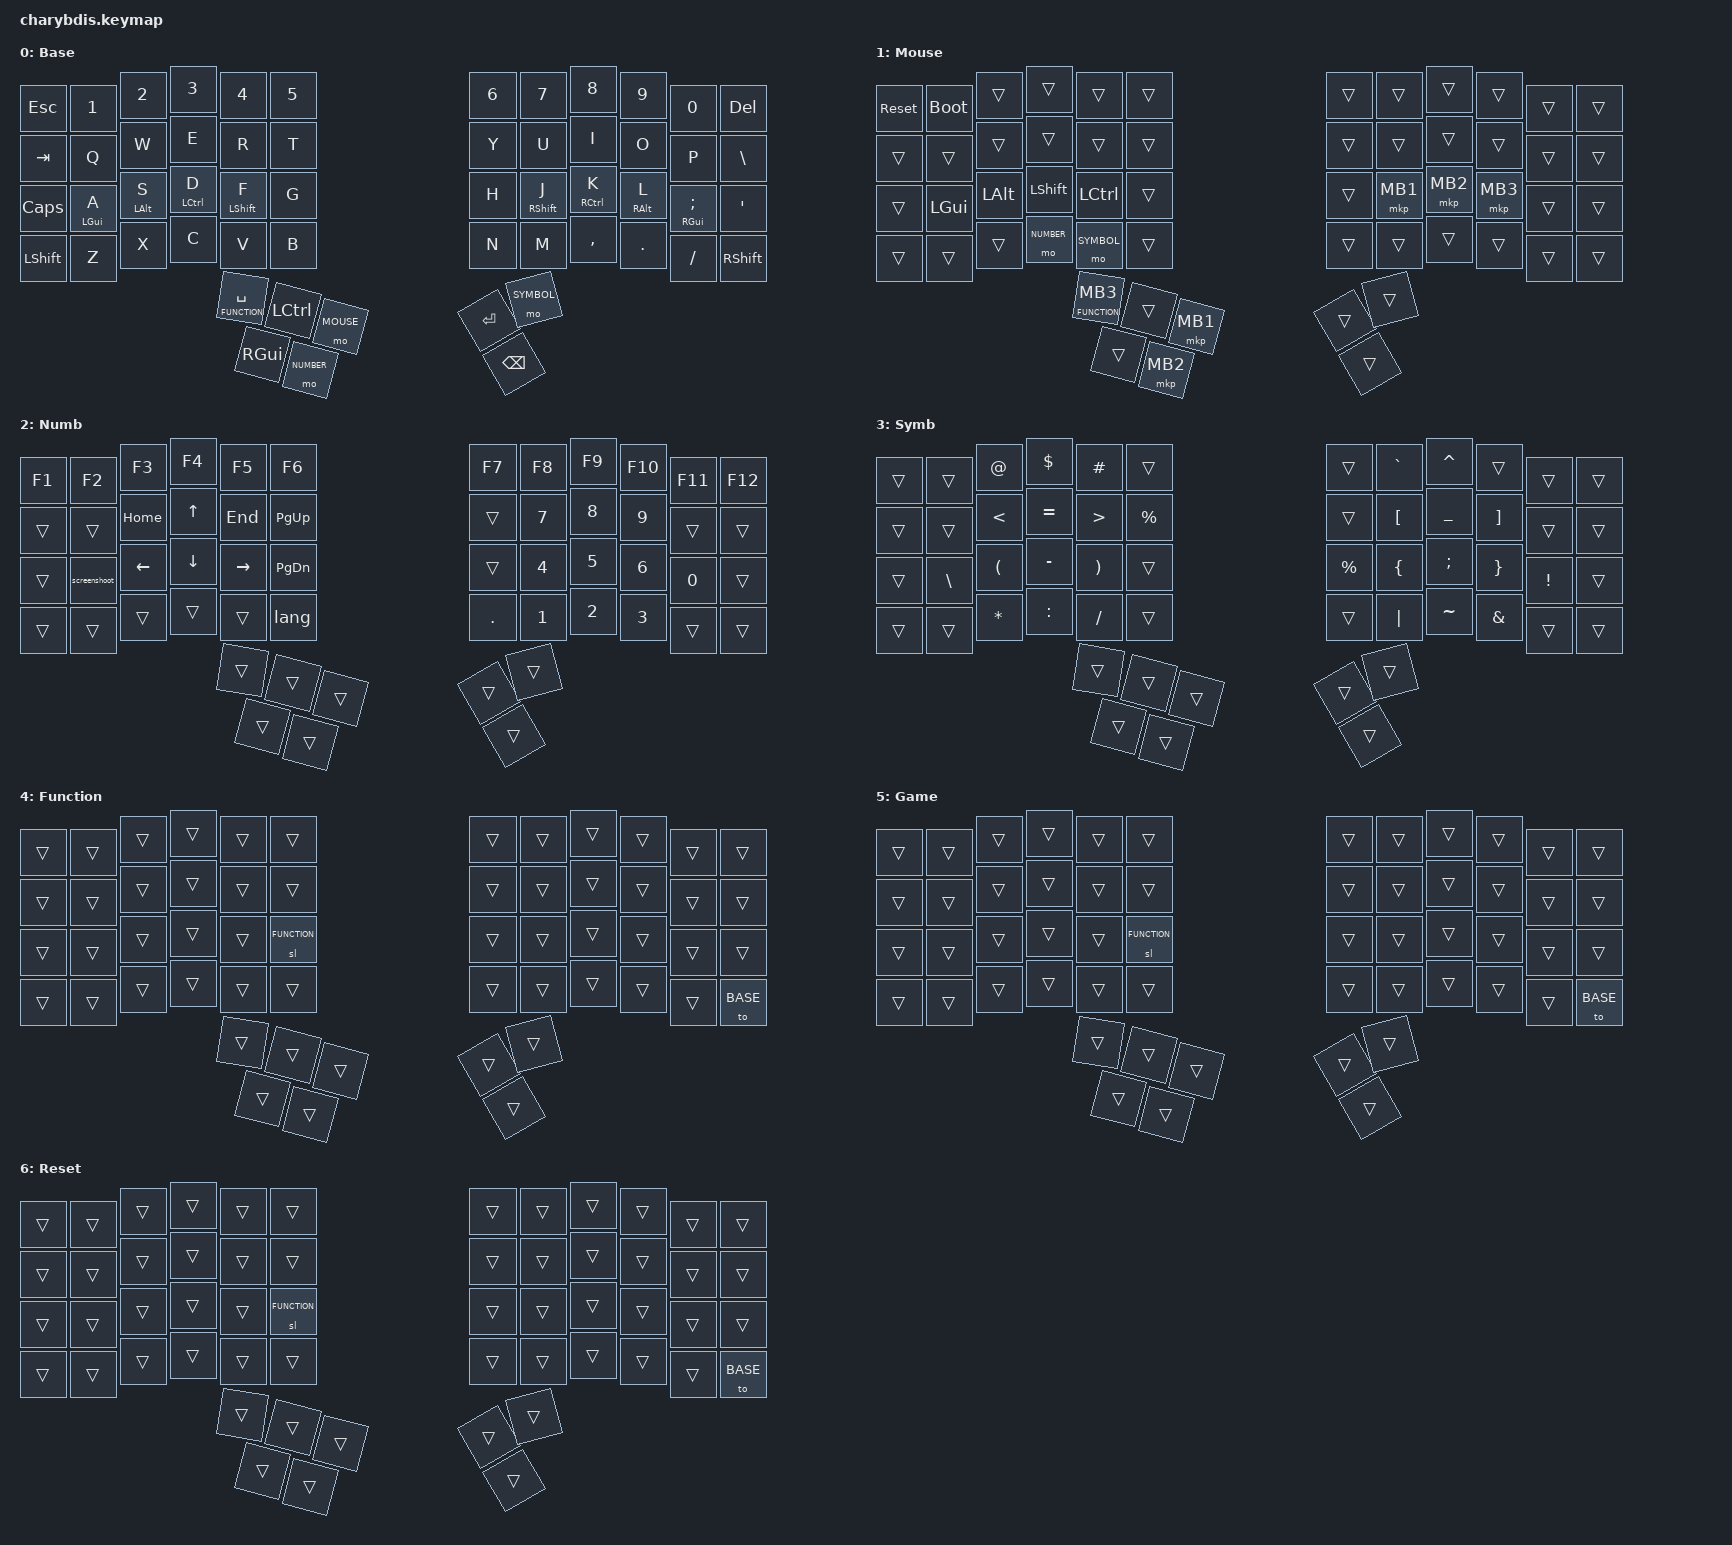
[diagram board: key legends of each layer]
#include <behaviors.dtsi>
#include <dt-bindings/zmk/keys.h>
#include <dt-bindings/zmk/pointing.h>

#define BASE 0
#define MOUSE 1
#define NUMBER 2
#define SYMBOL 3
#define FUNCTION 4
#define GAME 5
#define RESET 6

/*
 * Layout from charybdis_zmk. Positions 0-47 are the same 4x12 grid.
 * Thumb columns differ on this PCB, so thumb bindings and combos are
 * moved onto the switches this matrix actually scans:
 *   left  48 space/fn, 49 ctrl, 50 mouse, 51 gui, 52 number
 *   right 53 return, 54 symbol, 55 backspace
 */

&msc {
    delay-ms = <0>;
    time-to-max-speed-ms = <0>;
};

&sk {
    release-after-ms = <600>;
    quick-release;
};

&sl { ignore-modifiers; };

&mt { flavor = "tap-preferred"; };

&lt {
    flavor = "balanced";
    tapping-term-ms = <200>;
    quick-tap-ms = <175>;
};

&caps_word { /delete-property/ ignore-modifiers; };

/ {
    behaviors {
        hml: home_row_mod_left {
            compatible = "zmk,behavior-hold-tap";
            label = "HML";
            #binding-cells = <2>;
            flavor = "balanced";
            require-prior-idle-ms = <150>;
            tapping-term-ms = <280>;
            quick-tap-ms = <175>;
            retro-tap;
            bindings = <&kp>, <&kp>;
            hold-trigger-key-positions = <6 7 8 9 10 11 18 19 20 21 22 23 30 31 32 33 34 35 42 43 44 45 46 47 53 54 55>;
            hold-trigger-on-release;
        };

        hmr: home_row_mod_right {
            compatible = "zmk,behavior-hold-tap";
            label = "HMR";
            #binding-cells = <2>;
            flavor = "balanced";
            require-prior-idle-ms = <150>;
            tapping-term-ms = <280>;
            quick-tap-ms = <175>;
            retro-tap;
            bindings = <&kp>, <&kp>;
            hold-trigger-key-positions = <0 1 2 3 4 5 12 13 14 15 16 17 24 25 26 27 28 29 36 37 38 39 40 41 48 49 50 51 52>;
            hold-trigger-on-release;
        };

        scrl_clk: scrl_clk {
            compatible = "zmk,behavior-hold-tap";
            #binding-cells = <2>;
            flavor = "balanced";
            tapping-term-ms = <200>;
            quick-tap-ms = <175>;
            bindings = <&mo>, <&mkp>;
        };

        smart_shift: smart_shift {
            compatible = "zmk,behavior-mod-morph";
            #binding-cells = <0>;
            bindings = <&sk LSHIFT>, <&caps_word>;
            mods = <(MOD_LSFT)>;
        };
    };

    macros {
        lang: lang {
            compatible = "zmk,behavior-macro";
            #binding-cells = <0>;
            bindings = <&macro_press &kp LGUI &macro_tap &kp SPACE &macro_release &kp LGUI>;
            label = "LANG";
        };

        screenshoot: screenshoot {
            compatible = "zmk,behavior-macro";
            #binding-cells = <0>;
            bindings = <&macro_press &kp LCTRL &macro_press &kp LSHIFT &macro_tap &kp PSCRN &macro_release &kp LSHIFT &macro_release &kp LCTRL>;
            label = "SCREENSHOOT";
        };
    };

    combos {
        compatible = "zmk,combos";

        rh_leftClick {
            bindings = <&mkp MB1>;
            key-positions = <43 44>;
        };

        rh_rightClick {
            bindings = <&mkp MB2>;
            key-positions = <44 45>;
        };

        rh_middleClick {
            bindings = <&mkp MB3>;
            key-positions = <44 45 43>;
        };

        lh_leftClick {
            bindings = <&mkp MB1>;
            key-positions = <40 39>;
        };

        lh_rightClick {
            bindings = <&mkp MB2>;
            key-positions = <38 39>;
        };

        lh_middleClick {
            bindings = <&mkp MB3>;
            key-positions = <38 39 40>;
        };

        APOSX {
            bindings = <&kp APOS>;
            key-positions = <31 35>;
        };

        ENTERY {
            bindings = <&kp ENTER>;
            key-positions = <35 47>;
        };

        kitty_layer {
            bindings = <&tog SYMBOL>;
            key-positions = <0 11 47 36>;
        };

        DELETEY {
            bindings = <&kp DELETE>;
            key-positions = <11 23>;
        };

        LBKTX {
            bindings = <&kp LBKT>;
            key-positions = <31 22>;
        };

        RBKTX {
            bindings = <&kp RBKT>;
            key-positions = <31 23>;
        };

        MINUSX {
            bindings = <&kp MINUS>;
            key-positions = <31 10>;
        };

        PLUSX {
            bindings = <&kp EQUAL>;
            key-positions = <31 11>;
        };

        DELETEX {
            bindings = <&kp DELETE>;
            key-positions = <11 10>;
        };

        ToLayer1L {
            bindings = <&mo MOUSE>;
            key-positions = <48 51>;
        };

        ToLayer1R {
            bindings = <&mo MOUSE>;
            key-positions = <53 55>;
        };

        WinLX {
            bindings = <&kp LGUI>;
            key-positions = <50 52>;
        };

        GraveX {
            bindings = <&kp GRAVE>;
            key-positions = <0 1>;
        };

        GraveY {
            bindings = <&kp GRAVE>;
            key-positions = <0 12>;
        };

        rh_leftClickY {
            bindings = <&mkp MB1>;
            key-positions = <31 43>;
        };

        rh_rightClickY {
            bindings = <&mkp MB2>;
            key-positions = <33 45>;
        };

        rh_middleClickY {
            bindings = <&mkp MB3>;
            key-positions = <32 44>;
        };

        ForwardR {
            bindings = <&mkp MB5>;
            key-positions = <54 55>;
        };

        BackR {
            bindings = <&mkp MB4>;
            key-positions = <54 53>;
        };

        SpaceR {
            bindings = <&kp SPACE>;
            key-positions = <31 33>;
        };

        SpaceL {
            bindings = <&kp SPACE>;
            key-positions = <26 28>;
        };

        combo_unlock {
            key-positions = <0 4>;
            bindings = <&studio_unlock>;
        };

        combo_reset_layer_left {
            key-positions = <20 24>;
            bindings = <&to RESET>;
            timeout-ms = <20>;
            require-prior-idle-ms = <250>;
        };

        combo_reset_layer_right {
            key-positions = <25 29>;
            bindings = <&to RESET>;
            timeout-ms = <20>;
            require-prior-idle-ms = <250>;
        };

        combo_reset_central {
            key-positions = <32 33>;
            bindings = <&bootloader>;
            timeout-ms = <20>;
            require-prior-idle-ms = <2000>;
        };

        combo_normal {
            key-positions = <7 8>;
            bindings = <&to BASE>;
            timeout-ms = <20>;
            require-prior-idle-ms = <250>;
        };

        combo_fn {
            key-positions = <27 28>;
            bindings = <&sl FUNCTION>;
            timeout-ms = <20>;
            require-prior-idle-ms = <250>;
        };

        combo_genshin {
            key-positions = <5 9>;
            bindings = <&to GAME>;
            timeout-ms = <20>;
            require-prior-idle-ms = <250>;
        };

        combo_esc {
            key-positions = <1 2>;
            bindings = <&kp ESCAPE>;
            timeout-ms = <20>;
            require-prior-idle-ms = <250>;
        };

        combo_tab {
            key-positions = <2 3>;
            bindings = <&kp TAB>;
            timeout-ms = <20>;
            require-prior-idle-ms = <250>;
        };

        combo_cdel {
            key-positions = <11 12>;
            bindings = <&kp LC(BACKSPACE)>;
            timeout-ms = <20>;
            require-prior-idle-ms = <250>;
        };
    };

    chosen {
        zmk,physical-layout = &charybdis_6col_layout;
    };

    keymap {
        compatible = "zmk,keymap";

        Base {
            label = "Base";
            display-name = "Base";
            bindings = <
        // ╭─────────────┬─────────────┬─────────────┬─────────────┬─────────────┬─────────────╮   ╭─────────────┬─────────────┬─────────────┬─────────────┬─────────────┬─────────────────╮
               &kp ESC       &kp N1         &kp N2        &kp N3        &kp N4        &kp N5            &kp N6        &kp N7         &kp N8        &kp N9       &kp N0         &kp DEL
        // ├─────────────┼─────────────┼─────────────┼─────────────┼─────────────┼─────────────┤   ├─────────────┼─────────────┼─────────────┼─────────────┼─────────────┼─────────────────┤
               &kp TAB       &kp Q          &kp W         &kp E         &kp R         &kp T             &kp Y         &kp U          &kp I         &kp O        &kp P       &kp BACKSLASH
        // ├─────────────┼─────────────┼─────────────┼─────────────┼─────────────┼─────────────┤   ├─────────────┼─────────────┼─────────────┼─────────────┼─────────────┼─────────────────┤
               &kp CLCK    &hml LGUI A   &hml LALT S   &hml LCTRL D  &hml LSHIFT F     &kp G             &kp H      &hmr RSHIFT J   &hmr RCTRL K   &hmr RALT L  &hmr RGUI SEMI   &kp APOS
        // ├─────────────┼─────────────┼─────────────┼─────────────┼─────────────┼─────────────┤   ├─────────────┼─────────────┼─────────────┼─────────────┼─────────────┼─────────────────┤
              &kp LSHFT      &kp Z          &kp X         &kp C         &kp V         &kp B             &kp N         &kp M         &kp COMMA      &kp DOT      &kp FSLH    &kp RIGHT_SHIFT
        // ╰─────────────┴─────────────┼─────────────┼─────────────┼─────────────┼─────────────┤   ├─────────────┼─────────────┼─────────────┼─────────────┼─────────────┴─────────────────╯
                        &lt FUNCTION SPACE   &kp LCTRL    &mo MOUSE   &kp RIGHT_GUI   &mo NUMBER      &kp RETURN    &mo SYMBOL     &kp BSPC
        //                                           ╰─────────────┤─────────────┤─────────────┤   ├─────────────┼─────────────╯
            >;
        };

        Mouse {
            label = "Mouse";
            display-name = "Mouse";
            bindings = <
        // ╭─────────────┬─────────────┬─────────────┬─────────────┬─────────────┬─────────────╮   ╭─────────────┬─────────────┬─────────────┬─────────────┬─────────────┬─────────────────╮
             &sys_reset    &bootloader      &trans        &trans        &trans        &trans            &trans        &trans         &trans        &trans       &trans         &trans
        // ├─────────────┼─────────────┼─────────────┼─────────────┼─────────────┼─────────────┤   ├─────────────┼─────────────┼─────────────┼─────────────┼─────────────┼─────────────────┤
               &trans        &trans         &trans        &trans        &trans        &trans            &trans        &trans         &trans        &trans       &trans         &trans
        // ├─────────────┼─────────────┼─────────────┼─────────────┼─────────────┼─────────────┤   ├─────────────┼─────────────┼─────────────┼─────────────┼─────────────┼─────────────────┤
               &trans       &kp LGUI      &kp LALT      &kp LSHFT     &kp LCTRL       &trans            &trans       &mkp MB1       &mkp MB2      &mkp MB3      &trans         &trans
        // ├─────────────┼─────────────┼─────────────┼─────────────┼─────────────┼─────────────┤   ├─────────────┼─────────────┼─────────────┼─────────────┼─────────────┼─────────────────┤
               &trans        &trans         &trans      &mo NUMBER    &mo SYMBOL      &trans            &trans        &trans         &trans        &trans       &trans         &trans
        // ╰─────────────┴─────────────┼─────────────┼─────────────┼─────────────┼─────────────┤   ├─────────────┼─────────────┼─────────────┼─────────────┼─────────────┴─────────────────╯
                     &scrl_clk FUNCTION MB3   &trans     &mkp MB1      &trans       &mkp MB2         &trans        &trans         &trans
        //                                           ╰─────────────┤─────────────┤─────────────┤   ├─────────────┼─────────────╯
            >;
        };

        Num {
            label = "Number";
            display-name = "Numb";
            bindings = <
        // ╭─────────────┬─────────────┬─────────────┬─────────────┬─────────────┬─────────────╮   ╭─────────────┬─────────────┬─────────────┬─────────────┬─────────────┬─────────────────╮
               &kp F1        &kp F2        &kp F3        &kp F4        &kp F5        &kp F6            &kp F7        &kp F8         &kp F9       &kp F10      &kp F11        &kp F12
        // ├─────────────┼─────────────┼─────────────┼─────────────┼─────────────┼─────────────┤   ├─────────────┼─────────────┼─────────────┼─────────────┼─────────────┼─────────────────┤
               &trans        &trans        &kp HOME    &kp UP_ARROW    &kp END     &kp PAGE_UP         &trans        &kp N7         &kp N8        &kp N9       &trans         &trans
        // ├─────────────┼─────────────┼─────────────┼─────────────┼─────────────┼─────────────┤   ├─────────────┼─────────────┼─────────────┼─────────────┼─────────────┼─────────────────┤
               &trans     &screenshoot  &kp LEFT_ARROW &kp DOWN_ARROW &kp RIGHT_ARROW &kp PAGE_DOWN    &trans        &kp N4         &kp N5        &kp N6       &kp N0         &trans
        // ├─────────────┼─────────────┼─────────────┼─────────────┼─────────────┼─────────────┤   ├─────────────┼─────────────┼─────────────┼─────────────┼─────────────┼─────────────────┤
               &trans        &trans         &trans        &trans        &trans        &lang           &kp DOT       &kp N1         &kp N2        &kp N3       &trans         &trans
        // ╰─────────────┴─────────────┼─────────────┼─────────────┼─────────────┼─────────────┤   ├─────────────┼─────────────┼─────────────┼─────────────┼─────────────┴─────────────────╯
                               &trans        &trans         &trans        &trans       &trans            &trans        &trans        &trans
        //                                           ╰─────────────┤─────────────┤─────────────┤   ├─────────────┼─────────────╯
            >;
        };

        Sym {
            label = "Symbol";
            display-name = "Symb";
            bindings = <
        // ╭─────────────┬─────────────┬─────────────┬─────────────┬─────────────┬─────────────╮   ╭─────────────┬─────────────┬─────────────┬─────────────┬─────────────┬─────────────────╮
               &trans        &trans         &kp AT      &kp DOLLAR     &kp HASH       &trans           &trans       &kp GRAVE      &kp CARET      &trans       &trans         &trans
        // ├─────────────┼─────────────┼─────────────┼─────────────┼─────────────┼─────────────┤   ├─────────────┼─────────────┼─────────────┼─────────────┼─────────────┼─────────────────┤
               &trans        &trans     &kp LESS_THAN   &kp EQUAL  &kp GREATER_THAN  &kp PRCNT       &trans    &kp LEFT_BRACKET &kp UNDERSCORE &kp RIGHT_BRACKET &trans      &trans
        // ├─────────────┼─────────────┼─────────────┼─────────────┼─────────────┼─────────────┤   ├─────────────┼─────────────┼─────────────┼─────────────┼─────────────┼─────────────────┤
               &trans    &kp BACKSLASH &kp LEFT_PARENTHESIS &kp MINUS &kp RIGHT_PARENTHESIS &trans  &kp PERCENT &kp LEFT_BRACE &kp SEMICOLON &kp RIGHT_BRACE &kp EXCLAMATION &trans
        // ├─────────────┼─────────────┼─────────────┼─────────────┼─────────────┼─────────────┤   ├─────────────┼─────────────┼─────────────┼─────────────┼─────────────┼─────────────────┤
               &trans        &trans      &kp ASTERISK   &kp COLON     &kp SLASH      &trans           &trans        &kp PIPE       &kp TILDE   &kp AMPERSAND   &trans         &trans
        // ╰─────────────┴─────────────┼─────────────┼─────────────┼─────────────┼─────────────┤   ├─────────────┼─────────────┼─────────────┼─────────────┼─────────────┴─────────────────╯
                               &trans        &trans         &trans        &trans       &trans            &trans        &trans        &trans
        //                                           ╰─────────────┤─────────────┤─────────────┤   ├─────────────┼─────────────╯
            >;
        };

        Fun {
            label = "Function";
            display-name = "Function";
            bindings = <
        // ╭─────────────┬─────────────┬─────────────┬─────────────┬─────────────┬─────────────╮   ╭─────────────┬─────────────┬─────────────┬─────────────┬─────────────┬─────────────────╮
               &trans        &trans         &trans        &trans        &trans        &trans            &trans        &trans         &trans        &trans       &trans         &trans
        // ├─────────────┼─────────────┼─────────────┼─────────────┼─────────────┼─────────────┤   ├─────────────┼─────────────┼─────────────┼─────────────┼─────────────┼─────────────────┤
               &trans        &trans         &trans        &trans        &trans        &trans            &trans        &trans         &trans        &trans       &trans         &trans
        // ├─────────────┼─────────────┼─────────────┼─────────────┼─────────────┼─────────────┤   ├─────────────┼─────────────┼─────────────┼─────────────┼─────────────┼─────────────────┤
               &trans        &trans         &trans        &trans        &trans     &sl FUNCTION       &trans        &trans         &trans        &trans       &trans         &trans
        // ├─────────────┼─────────────┼─────────────┼─────────────┼─────────────┼─────────────┤   ├─────────────┼─────────────┼─────────────┼─────────────┼─────────────┼─────────────────┤
               &trans        &trans         &trans        &trans        &trans        &trans            &trans        &trans         &trans        &trans       &trans        &to BASE
        // ╰─────────────┴─────────────┼─────────────┼─────────────┼─────────────┼─────────────┤   ├─────────────┼─────────────┼─────────────┼─────────────┼─────────────┴─────────────────╯
                               &trans        &trans         &trans        &trans       &trans            &trans        &trans        &trans
        //                                           ╰─────────────┤─────────────┤─────────────┤   ├─────────────┼─────────────╯
            >;
        };

        Button {
            label = "Game";
            display-name = "Game";
            bindings = <
        // ╭─────────────┬─────────────┬─────────────┬─────────────┬─────────────┬─────────────╮   ╭─────────────┬─────────────┬─────────────┬─────────────┬─────────────┬─────────────────╮
               &trans        &trans         &trans        &trans        &trans        &trans            &trans        &trans         &trans        &trans       &trans         &trans
        // ├─────────────┼─────────────┼─────────────┼─────────────┼─────────────┼─────────────┤   ├─────────────┼─────────────┼─────────────┼─────────────┼─────────────┼─────────────────┤
               &trans        &trans         &trans        &trans        &trans        &trans            &trans        &trans         &trans        &trans       &trans         &trans
        // ├─────────────┼─────────────┼─────────────┼─────────────┼─────────────┼─────────────┤   ├─────────────┼─────────────┼─────────────┼─────────────┼─────────────┼─────────────────┤
               &trans        &trans         &trans        &trans        &trans     &sl FUNCTION       &trans        &trans         &trans        &trans       &trans         &trans
        // ├─────────────┼─────────────┼─────────────┼─────────────┼─────────────┼─────────────┤   ├─────────────┼─────────────┼─────────────┼─────────────┼─────────────┼─────────────────┤
               &trans        &trans         &trans        &trans        &trans        &trans            &trans        &trans         &trans        &trans       &trans        &to BASE
        // ╰─────────────┴─────────────┼─────────────┼─────────────┼─────────────┼─────────────┤   ├─────────────┼─────────────┼─────────────┼─────────────┼─────────────┴─────────────────╯
                               &trans        &trans         &trans        &trans       &trans            &trans        &trans        &trans
        //                                           ╰─────────────┤─────────────┤─────────────┤   ├─────────────┼─────────────╯
            >;
        };

        Reset {
            label = "Reset";
            display-name = "Reset";
            bindings = <
        // ╭─────────────┬─────────────┬─────────────┬─────────────┬─────────────┬─────────────╮   ╭─────────────┬─────────────┬─────────────┬─────────────┬─────────────┬─────────────────╮
               &trans        &trans         &trans        &trans        &trans        &trans            &trans        &trans         &trans        &trans       &trans         &trans
        // ├─────────────┼─────────────┼─────────────┼─────────────┼─────────────┼─────────────┤   ├─────────────┼─────────────┼─────────────┼─────────────┼─────────────┼─────────────────┤
               &trans        &trans         &trans        &trans        &trans        &trans            &trans        &trans         &trans        &trans       &trans         &trans
        // ├─────────────┼─────────────┼─────────────┼─────────────┼─────────────┼─────────────┤   ├─────────────┼─────────────┼─────────────┼─────────────┼─────────────┼─────────────────┤
               &trans        &trans         &trans        &trans        &trans     &sl FUNCTION       &trans        &trans         &trans        &trans       &trans         &trans
        // ├─────────────┼─────────────┼─────────────┼─────────────┼─────────────┼─────────────┤   ├─────────────┼─────────────┼─────────────┼─────────────┼─────────────┼─────────────────┤
               &trans        &trans         &trans        &trans        &trans        &trans            &trans        &trans         &trans        &trans       &trans        &to BASE
        // ╰─────────────┴─────────────┼─────────────┼─────────────┼─────────────┼─────────────┤   ├─────────────┼─────────────┼─────────────┼─────────────┼─────────────┴─────────────────╯
                               &trans        &trans         &trans        &trans       &trans            &trans        &trans        &trans
        //                                           ╰─────────────┤─────────────┤─────────────┤   ├─────────────┼─────────────╯
            >;
        };
    };
};
